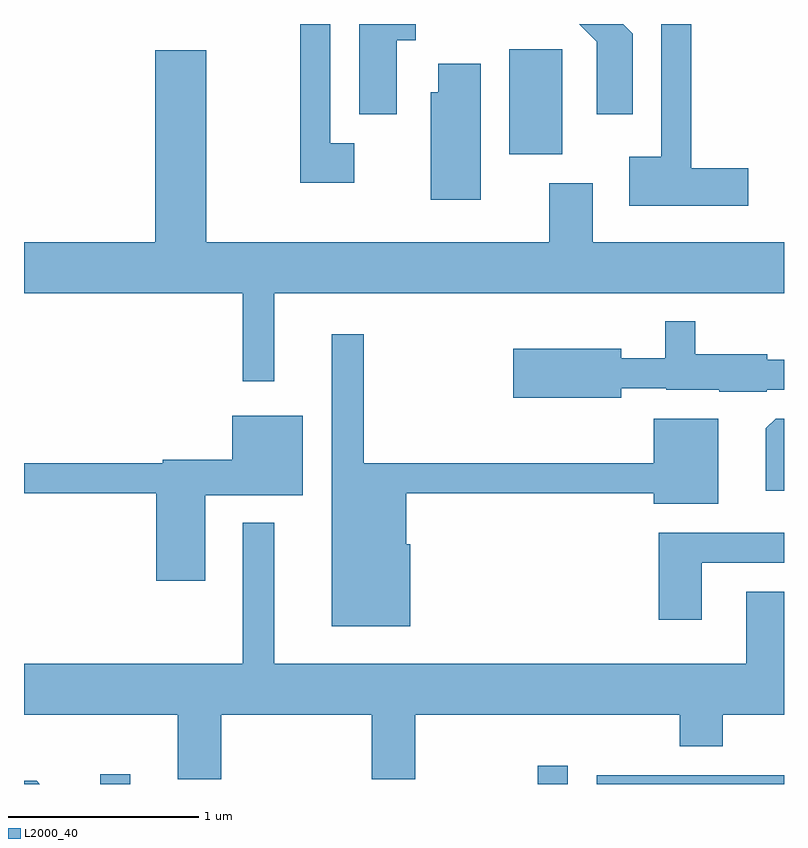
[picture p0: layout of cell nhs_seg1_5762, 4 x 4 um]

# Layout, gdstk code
import gdstk
lib = gdstk.Library(unit=1e-6, precision=1e-09)
def R(c, l, rs):  # rectangles x0, y0, x1, y1
    for r in rs: c.add(gdstk.rectangle(r[:2], r[2:], *l))
def P(c, l, *ps):  # polygons
    for p in ps: c.add(gdstk.Polygon(p, *l))
L2000_40 = (2000, 40)

nhs_seg1_5762 = lib.new_cell('nhs_seg1_5762')
R(nhs_seg1_5762, L2000_40, [(360.011,843.712,360.169,843.763), (362.316,843.712,362.474,843.808), (362.626,843.712,363.611,843.759), (362.166,847.026,362.444,847.579)])
P(nhs_seg1_5762, L2000_40, [(361.574,847.626),(361.674,847.626),(361.674,847.712),(361.376,847.712),(361.376,847.236),(361.574,847.236)],
  [(363.424,846.954),(363.124,846.954),(363.124,847.712),(362.966,847.712),(362.966,847.014),(362.796,847.014),(362.796,846.756),(363.424,846.756)],
  [(362.814,847.662),(362.764,847.712),(362.533,847.712),(362.626,847.619),(362.626,847.236),(362.814,847.236)],
  [(361.349,847.084),(361.224,847.084),(361.224,847.712),(361.066,847.712),(361.066,846.876),(361.349,846.876)],
  [(360.929,846.296),(363.611,846.296),(363.611,846.564),(362.604,846.564),(362.604,846.874),(362.376,846.874),(362.376,846.564),(360.569,846.564),(360.569,847.574),(360.301,847.574),(360.301,846.564),(359.611,846.564),(359.611,846.296),(360.761,846.296),(360.761,845.833),(360.929,845.833)],
  [(362.014,847.504),(361.791,847.504),(361.791,847.354),(361.751,847.354),(361.751,846.786),(362.014,846.786)],
  [(362.754,845.796),(362.99,845.796),(362.99,845.786),(363.27,845.786),(363.27,845.776),(363.52,845.776),(363.52,845.786),(363.611,845.786),(363.611,845.944),(363.524,845.944),(363.524,845.974),(363.144,845.974),(363.144,846.148),(362.986,846.148),(362.986,845.954),(362.754,845.954),(362.754,846.004),(362.186,846.004),(362.186,845.746),(362.754,845.746)],
  [(361.644,844.974),(361.624,844.974),(361.624,845.241),(362.926,845.241),(362.926,845.186),(363.264,845.186),(363.264,845.634),(362.926,845.634),(362.926,845.399),(361.399,845.399),(361.399,846.078),(361.231,846.078),(361.231,844.541),(361.644,844.541)],
  [(360.564,845.231),(361.079,845.231),(361.079,845.649),(360.706,845.649),(360.706,845.419),(360.341,845.419),(360.341,845.399),(359.611,845.399),(359.611,845.241),(360.306,845.241),(360.306,844.781),(360.564,844.781)],
  [(363.611,845.634),(363.567,845.634),(363.516,845.584),(363.516,845.256),(363.611,845.256)],
  [(360.649,844.076),(361.441,844.076),(361.441,843.736),(361.669,843.736),(361.669,844.076),(363.061,844.076),(363.061,843.911),(363.289,843.911),(363.289,844.076),(363.611,844.076),(363.611,844.724),(363.411,844.724),(363.411,844.344),(360.929,844.344),(360.929,845.088),(360.761,845.088),(360.761,844.344),(359.611,844.344),(359.611,844.076),(360.421,844.076),(360.421,843.736),(360.649,843.736)],
  [(363.179,844.876),(363.611,844.876),(363.611,845.034),(362.951,845.034),(362.951,844.576),(363.179,844.576)],
  [(359.677,843.729),(359.611,843.729),(359.611,843.712),(359.694,843.712)])

lib.write_gds('nhs_seg1_5762.gds')
